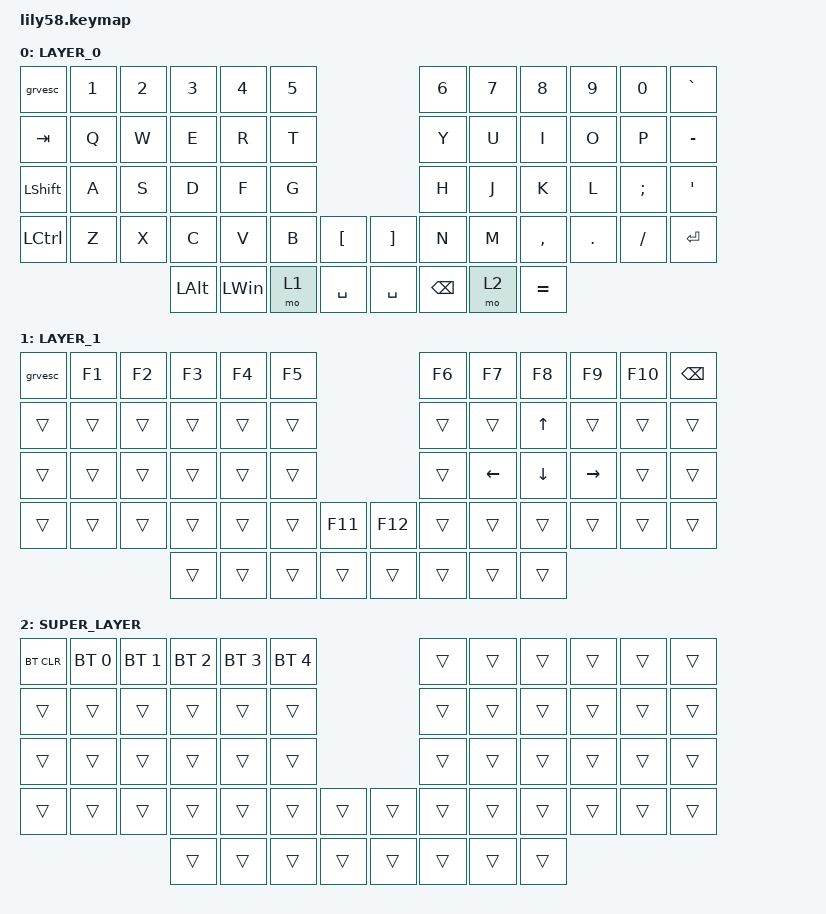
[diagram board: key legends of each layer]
/*
 * Copyright (c) 2020 The ZMK Contributors
 *
 * SPDX-License-Identifier: MIT
 */

#include <behaviors.dtsi>
#include <dt-bindings/zmk/bt.h>
#include <dt-bindings/zmk/keys.h>

#define DEFAULT 0
#define LOWER 1
#define RAISE 2
#define SUPER 3

/ {
    combos {
        compatible = "zmk,combos";

        combo_super {
            timeout-ms = <50>;
            key-positions = <52 56>;
            bindings = <&mo 2>;
        };
    };

    behaviors {
        grvesc: grave_escape {
            compatible = "zmk,behavior-mod-morph";
            label = "GRAVE_ESCAPE";
            #binding-cells = <0>;
            bindings = <&kp ESC>, <&kp GRAVE>;

            mods = <(MOD_LSFT)>;
        };
    };

    keymap {
        compatible = "zmk,keymap";

        LAYER_0 {
            // --------------------------------------------------------------------------------------------------------------------------------------------------------------------------
            // |  ESC   |     1     |     2     |     3     |     4     |     5     |                           |     6     |     7     |     8     |     9     |     0     |     -     |
            // |  TAB   |     Q     |     W     |     E     |     R     |     T     |                           |     Y     |     U     |     I     |     O     |     P     |    BS     |
            // |  CTRL  |     A     |     S     |     D     |     F     |     G     |                           |     H     |     J     |     K     |     L     |     ;     |     '     |
            // | LSHIFT |     Z     |     X     |     C     |     V     |     B     |    "["    |   |    "]"    |     N     |     M     |     ,     |     .     |     /     |   ENTER   |
            //                                  |     `     |   LALT    |   LOWER   |   SPACE   |   |   SPACE   |  RSHIFT   |   RAISE   |     =     |

            bindings = <
&grvesc           &kp N1  &kp N2  &kp N3        &kp N4    &kp N5                          &kp N6         &kp N7  &kp N8     &kp N9   &kp N0    &kp GRAVE
&kp TAB           &kp Q   &kp W   &kp E         &kp R     &kp T                           &kp Y          &kp U   &kp I      &kp O    &kp P     &kp MINUS
&kp LEFT_SHIFT    &kp A   &kp S   &kp D         &kp F     &kp G                           &kp H          &kp J   &kp K      &kp L    &kp SEMI  &kp SQT
&kp LEFT_CONTROL  &kp Z   &kp X   &kp C         &kp V     &kp B   &kp LBKT     &kp RBKT   &kp N          &kp M   &kp COMMA  &kp DOT  &kp FSLH  &kp RET
                                  &kp LEFT_ALT  &kp LWIN  &mo 1   &kp SPACE    &kp SPACE  &kp BACKSPACE  &mo 2   &kp EQUAL
            >;
        };

        LAYER_1 {
            // --------------------------------------------------------------------------------------------------------------------------------------------------------------------------
            // |  LGUI  |    F1     |    F2     |    F3     |    F4     |    F5     |                           |    F6     |    F7     |    F8     |    F9     |    F10    |           |
            // |        |           |           |           |           |           |                           |           |           |           |           |           |    DEL    |
            // |        |           |           |           |           |           |                           |           |    <-     |     ^     |     v     |    ->     |           |
            // |        |           |           |           |           |           |    F11    |   |    F12    |     +     |     -     |     =     |    "["    |    "]"    |     \     |
            //                                  |           |           |   LOWER   |           |   |           |           |   RAISE   |           |

            bindings = <
&grvesc  &kp F1  &kp F2  &kp F3  &kp F4  &kp F5                      &kp F6  &kp F7    &kp F8    &kp F9     &kp F10  &kp BACKSPACE
&trans   &trans  &trans  &trans  &trans  &trans                      &trans  &trans    &kp UP    &trans     &trans   &trans
&trans   &trans  &trans  &trans  &trans  &trans                      &trans  &kp LEFT  &kp DOWN  &kp RIGHT  &trans   &trans
&trans   &trans  &trans  &trans  &trans  &trans  &kp F11    &kp F12  &trans  &trans    &trans    &trans     &trans   &trans
                         &trans  &trans  &trans  &trans     &trans   &trans  &trans    &trans
            >;
        };

        SUPER_LAYER {
            // --------------------------------------------------------------------------------------------------------------------------------------------------------------------------------------------------
            // |  LGUI    |             |             |             |             |             |                           |             |             |             |             |             |             |
            // |          |             |             |             |             |             |                           |             |             |             |             |             |             |
            // |  BTCLR   |     BT1     |     BT2     |     BT3     |     BT4     |     BT5     |                           |             |             |             |             |             |             |
            // |          |             |             |             |             |             |           |   |           |             |             |             |             |             |             |
            //                                                      |             |             |   LOWER   |   |           |             |    RAISE    |             |

            bindings = <
&bt BT_CLR  &bt BT_SEL 0  &bt BT_SEL 1  &bt BT_SEL 2  &bt BT_SEL 3  &bt BT_SEL 4                    &trans  &trans  &trans  &trans  &trans  &trans
&trans      &trans        &trans        &trans        &trans        &trans                          &trans  &trans  &trans  &trans  &trans  &trans
&trans      &trans        &trans        &trans        &trans        &trans                          &trans  &trans  &trans  &trans  &trans  &trans
&trans      &trans        &trans        &trans        &trans        &trans        &trans    &trans  &trans  &trans  &trans  &trans  &trans  &trans
                                        &trans        &trans        &trans        &trans    &trans  &trans  &trans  &trans
            >;
        };
    };
};
